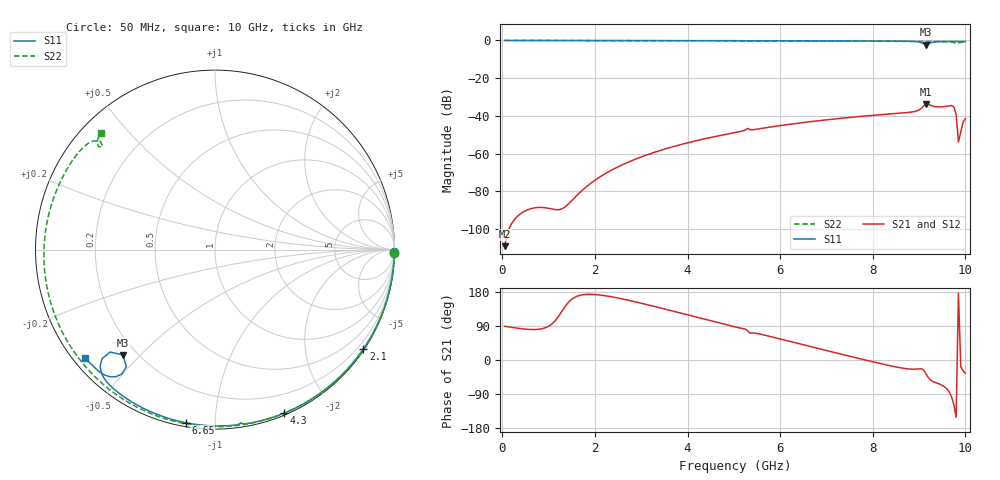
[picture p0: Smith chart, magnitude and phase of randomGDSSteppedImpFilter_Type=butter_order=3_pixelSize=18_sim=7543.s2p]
! freq	dB(S11)	phase(S11)	dB(S12)	phase(S12)
!  dB(S21)	phase(S21)	dB(S22)	phase(S22)
!S-par simulation data
#  GHz  S  DB  R 50
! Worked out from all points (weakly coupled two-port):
!   200 points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, 50 MHz to 10 GHz, reference 50 ohm
!   highest |S21| = -33.68 dB at 9.15 GHz (marker M1); lowest = -109.0 dB at 50 MHz (marker M2)
!   lowest |S11| = -2.2 dB at 9.15 GHz (marker M3), VSWR 8.08, Z = 7.44 - j22.3 ohm
!   |S11| at or under -10 dB: nowhere
!   |S22| runs from -1.4 to 0.0 dB; largest |S21 - S12| = 0
!   S11 on the Smith chart (normalised r, x): 50 MHz: open; 2.1 GHz: 0.03, -3.28; 4.3 GHz: 0.02, -1.51; 6.65 GHz: 0.02, -0.84; 10 GHz: 0.03, -0.36
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0.05  -0.00 -0.8  -109.01 89.1  -109.01 89.1  -0.00 -1.2
0.85  -0.02 -13.9  -88.49 82.4  -88.49 82.4  -0.03 -20.9
1.7  -0.03 -27.5  -79.99 171.3  -79.99 171.3  -0.05 -41.4
1.75  -0.04 -28.3  -78.89 172.4  -78.89 172.4  -0.05 -42.6
2.1  -0.04 -33.9  -72.43 171.7  -72.43 171.7  -0.06 -50.8
2.7  -0.06 -43.2  -64.69 158.3  -64.69 158.3  -0.08 -64.6
3.4  -0.07 -53.9  -58.38 137.8  -58.38 137.8  -0.10 -80.2
4.3  -0.09 -67.2  -52.50 109.8  -52.50 109.8  -0.14 -99.6
5.05  -0.12 -77.9  -48.70 86.7  -48.70 86.7  -0.18 -115.3
5.3  -0.21 -81.6  -46.64 77.0  -46.64 77.0  -0.19 -120.5
5.4  -0.15 -82.5  -47.35 71.4  -47.35 71.4  -0.19 -122.5
6.65  -0.19 -99.6  -43.05 35.6  -43.05 35.6  -0.28 -148.3
6.7  -0.19 -100.3  -42.90 34.1  -42.90 34.1  -0.29 -149.4
8.35  -0.32 -122.3  -38.98 -14.4  -38.98 -14.4  -0.44 174.6
9  -0.81 -134.6  -36.81 -23.1  -36.81 -23.1  -0.52 158.8
9.15  -2.16 -131.2  -33.68 -36.2  -33.68 -36.2  -0.54 154.9
9.3  -0.93 -128.0  -34.79 -56.7  -34.79 -56.7  -0.55 150.9
9.75  -0.55 -136.6  -35.19 -118.2  -35.19 -118.2  -1.13 136.6
9.8  -0.55 -137.2  -39.22 -151.2  -39.22 -151.2  -1.42 137.5
9.85  -0.53 -137.9  -53.75 176.4  -53.75 176.4  -1.26 138.5
9.95  -0.52 -139.4  -43.36 -28.6  -43.36 -28.6  -0.90 136.1
10  -0.52 -140.2  -41.33 -35.2  -41.33 -35.2  -0.84 134.4
